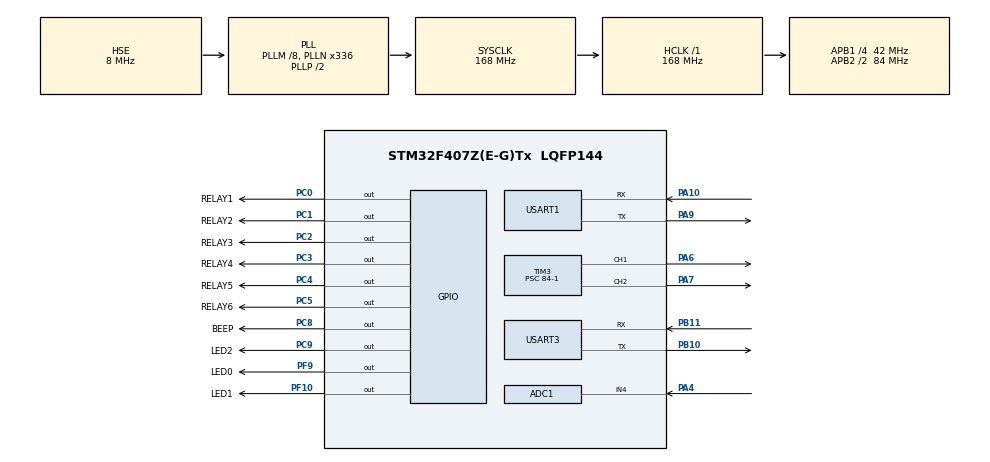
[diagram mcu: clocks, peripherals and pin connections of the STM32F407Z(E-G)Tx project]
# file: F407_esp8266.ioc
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ADC1.Channel-0\#ChannelRegularConversion=ADC_CHANNEL_4
ADC1.ExternalTrigConv=ADC_EXTERNALTRIGCONV_T3_TRGO
ADC1.ExternalTrigConvEdge=ADC_EXTERNALTRIGCONVEDGE_FALLING
ADC1.NbrOfConversionFlag=1
ADC1.Rank-0\#ChannelRegularConversion=1
ADC1.SamplingTime-0\#ChannelRegularConversion=ADC_SAMPLETIME_480CYCLES
ADC1.master=1
Mcu.Family=STM32F4
Mcu.Name=STM32F407Z(E-G)Tx
Mcu.Package=LQFP144
NVIC.PriorityGroup=NVIC_PRIORITYGROUP_2
NVIC.USART1_IRQn=true\:0\:0\:false\:false\:true\:true\:true\:true
NVIC.USART3_IRQn=true\:0\:0\:false\:false\:true\:true\:true\:true
PA10.Mode=Asynchronous
PA10.Signal=USART1_RX
PA13.Mode=Serial_Wire
PA13.Signal=SYS_JTMS-SWDIO
PA14.Mode=Serial_Wire
PA14.Signal=SYS_JTCK-SWCLK
PA4.Signal=ADCx_IN4
PA6.Signal=S_TIM3_CH1
PA7.Signal=S_TIM3_CH2
PA9.Mode=Asynchronous
PA9.Signal=USART1_TX
PB10.Mode=Asynchronous
PB10.Signal=USART3_TX
PB11.Mode=Asynchronous
PB11.Signal=USART3_RX
PC0.GPIO_Label=RELAY1
PC0.GPIO_ModeDefaultOutputPP=GPIO_MODE_OUTPUT_PP
PC0.GPIO_PuPd=GPIO_NOPULL
PC0.GPIO_Speed=GPIO_SPEED_FREQ_LOW
PC0.PinState=GPIO_PIN_SET
PC0.Signal=GPIO_Output
PC1.GPIO_Label=RELAY2
PC1.GPIO_ModeDefaultOutputPP=GPIO_MODE_OUTPUT_PP
PC1.GPIO_PuPd=GPIO_NOPULL
PC1.GPIO_Speed=GPIO_SPEED_FREQ_LOW
PC1.PinState=GPIO_PIN_SET
PC1.Signal=GPIO_Output
PC14-OSC32_IN.Mode=LSE-External-Oscillator
PC14-OSC32_IN.Signal=RCC_OSC32_IN
PC15-OSC32_OUT.Mode=LSE-External-Oscillator
PC15-OSC32_OUT.Signal=RCC_OSC32_OUT
PC2.GPIO_Label=RELAY3
PC2.GPIO_ModeDefaultOutputPP=GPIO_MODE_OUTPUT_PP
PC2.GPIO_PuPd=GPIO_NOPULL
PC2.GPIO_Speed=GPIO_SPEED_FREQ_LOW
PC2.PinState=GPIO_PIN_SET
PC2.Signal=GPIO_Output
PC3.GPIO_Label=RELAY4
PC3.GPIO_ModeDefaultOutputPP=GPIO_MODE_OUTPUT_PP
PC3.GPIO_PuPd=GPIO_NOPULL
PC3.GPIO_Speed=GPIO_SPEED_FREQ_LOW
PC3.PinState=GPIO_PIN_SET
PC3.Signal=GPIO_Output
PC4.GPIO_Label=RELAY5
PC4.GPIO_ModeDefaultOutputPP=GPIO_MODE_OUTPUT_PP
PC4.GPIO_PuPd=GPIO_NOPULL
PC4.GPIO_Speed=GPIO_SPEED_FREQ_LOW
PC4.PinState=GPIO_PIN_SET
PC4.Signal=GPIO_Output
PC5.GPIO_Label=RELAY6
PC5.GPIO_ModeDefaultOutputPP=GPIO_MODE_OUTPUT_PP
PC5.GPIO_PuPd=GPIO_NOPULL
PC5.GPIO_Speed=GPIO_SPEED_FREQ_LOW
PC5.PinState=GPIO_PIN_SET
PC5.Signal=GPIO_Output
PC8.GPIO_Label=BEEP
PC8.GPIO_ModeDefaultOutputPP=GPIO_MODE_OUTPUT_PP
PC8.PinState=GPIO_PIN_RESET
PC8.Signal=GPIO_Output
PC9.GPIO_Label=LED2
PC9.GPIO_ModeDefaultOutputPP=GPIO_MODE_OUTPUT_PP
PC9.PinState=GPIO_PIN_RESET
PC9.Signal=GPIO_Output
PF10.GPIO_Label=LED1
PF10.PinState=GPIO_PIN_SET
PF10.Signal=GPIO_Output
PF9.GPIO_Label=LED0
PF9.PinState=GPIO_PIN_SET
PF9.Signal=GPIO_Output
PH0-OSC_IN.Mode=HSE-External-Oscillator
PH0-OSC_IN.Signal=RCC_OSC_IN
PH1-OSC_OUT.Mode=HSE-External-Oscillator
PH1-OSC_OUT.Signal=RCC_OSC_OUT
ProjectManager.HeapSize=0x200
ProjectManager.StackSize=0x400
ProjectManager.TargetToolchain=CMake
RCC.48MHZClocksFreq_Value=84000000
RCC.AHBFreq_Value=168000000
RCC.APB1CLKDivider=RCC_HCLK_DIV4
RCC.APB1Freq_Value=42000000
RCC.APB1TimFreq_Value=84000000
RCC.APB2CLKDivider=RCC_HCLK_DIV2
RCC.APB2Freq_Value=84000000
RCC.APB2TimFreq_Value=168000000
RCC.CortexFreq_Value=168000000
RCC.HCLKFreq_Value=168000000
RCC.HSE_VALUE=8000000
RCC.HSI_VALUE=16000000
RCC.PLLM=8
RCC.PLLN=336
RCC.PLLSourceVirtual=RCC_PLLSOURCE_HSE
RCC.SYSCLKFreq_VALUE=168000000
RCC.SYSCLKSource=RCC_SYSCLKSOURCE_PLLCLK
RCC.VCOOutputFreq_Value=336000000
SH.ADCx_IN4.0=ADC1_IN4,IN4
SH.S_TIM3_CH1.0=TIM3_CH1,PWM Generation1 CH1
SH.S_TIM3_CH2.0=TIM3_CH2,PWM Generation2 CH2
TIM3.AutoReloadPreload=TIM_AUTORELOAD_PRELOAD_ENABLE
TIM3.Channel-PWM\ Generation1\ CH1=TIM_CHANNEL_1
TIM3.Channel-PWM\ Generation2\ CH2=TIM_CHANNEL_2
TIM3.Period=9999
TIM3.Prescaler=84-1
TIM3.Pulse-PWM\ Generation1\ CH1=319
TIM3.Pulse-PWM\ Generation2\ CH2=280
TIM3.TIM_MasterOutputTrigger=TIM_TRGO_OC2REF
USART1.VirtualMode=VM_ASYNC
USART3.VirtualMode=VM_ASYNC
VP_TIM3_VS_ClockSourceINT.Mode=Internal
board=custom

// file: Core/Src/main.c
/* USER CODE BEGIN Header */
/**
  ******************************************************************************
  * @file           : main.c
  * @brief          : Main program body
  ******************************************************************************
  * @attention
  *
  * Copyright (c) 2026 STMicroelectronics.
  * All rights reserved.
  *
  * This software is licensed under terms that can be found in the LICENSE file
  * in the root directory of this software component.
  * If no LICENSE file comes with this software, it is provided AS-IS.
  *
  ******************************************************************************
  */
/* USER CODE END Header */
#include "main.h"
#include "adc.h"
#include "tim.h"
#include "usart.h"
#include "gpio.h"

/* USER CODE BEGIN Includes */
#include "app_alarm.h"
#include "app_cmd.h"
#include "app_dbg.h"
#include "app_dust.h"
#include "app_cfg.h"
#include "app_lcd.h"
#include "app_net.h"
#include "app_relay.h"
#include "app_touch.h"
#include "app_ui.h"
/* USER CODE END Includes */

void SystemClock_Config(void);
/* USER CODE BEGIN PFP */
static void on_touch_click(uint16_t x, uint16_t y);

/* USER CODE END PFP */

int main(void)
{

  /* MCU Configuration--------------------------------------------------------*/

  /* Reset of all peripherals, Initializes the Flash interface and the Systick. */
  HAL_Init();

  /* Configure the system clock */
  SystemClock_Config();

  /* Initialize all configured peripherals */
  MX_GPIO_Init();
  MX_USART1_UART_Init();
  MX_USART3_UART_Init();
  MX_ADC1_Init();
  MX_TIM3_Init();
  /* USER CODE BEGIN 2 */
  /* 粉尘链路：先校准 ADC，再让 TIM3 产生采样窗口与触发，最后等 TIM3_TRGO */
  app_dust_calibrate();
  HAL_TIM_PWM_Start(&htim3, TIM_CHANNEL_1);   /* PA6：传感器 LED，10 ms / 320 us */
  HAL_TIM_PWM_Start(&htim3, TIM_CHANNEL_2);   /* PA7：280 us 处 → TRGO 触发 ADC */
  if (HAL_ADC_Start(&hadc1) != HAL_OK)
  {
    Error_Handler();
  }

  app_relay_init();                           /* 6 路继电器先全部断开 */
  app_dust_init();
  app_alarm_init();                           /* 蜂鸣器/状态灯静音 */
  app_cmd_init();                             /* USART1 命令接收就绪 */
  app_net_init();                             /* USART3 + ESP8266 */
  app_ui_init();
  app_lcd_init();                             /* 3.5 寸 TFTLCD（无屏时会自己报错跳过） */
  app_touch_init();                           /* XPT2046 电阻触摸（已存校准就直接用） */

  dbg_write("\r\nF407_esp8266 ready. type 'help' for commands.\r\n");
  /* USER CODE END 2 */

  /* Infinite loop */
  /* USER CODE BEGIN WHILE */
  uint32_t tick_10ms = HAL_GetTick();
  uint32_t tick_200ms = tick_10ms;
  uint32_t tick_1s = tick_10ms;

  while (1)
  {
    uint32_t now = HAL_GetTick();

    if ((now - tick_10ms) >= 10u)             /* 10 ms 时基：命令、采样、报警、联网 */
    {
      tick_10ms = now;
      app_cmd_task();
      app_dust_task();
      app_alarm_task(app_dust_level());
      app_net_task();
      app_touch_task(on_touch_click);
    }

    if ((now - tick_200ms) >= 200u)           /* 200 ms 时基：屏幕局部刷新 */
    {
      tick_200ms = now;
      app_lcd_update();
    }

    if ((now - tick_1s) >= 1000u)             /* 1 s 时基：状态输出 */
    {
      tick_1s = now;
      app_ui_task();
    }
    /* USER CODE END WHILE */

  }
}

void SystemClock_Config(void)
{
  RCC_OscInitTypeDef RCC_OscInitStruct = {0};
  RCC_ClkInitTypeDef RCC_ClkInitStruct = {0};

  /** Configure the main internal regulator output voltage
  */
  __HAL_RCC_PWR_CLK_ENABLE();
  __HAL_PWR_VOLTAGESCALING_CONFIG(PWR_REGULATOR_VOLTAGE_SCALE1);

  /** Initializes the RCC Oscillators according to the specified parameters
  * in the RCC_OscInitTypeDef structure.
  */
  RCC_OscInitStruct.OscillatorType = RCC_OSCILLATORTYPE_HSE;
  RCC_OscInitStruct.HSEState = RCC_HSE_ON;
  RCC_OscInitStruct.PLL.PLLState = RCC_PLL_ON;
  RCC_OscInitStruct.PLL.PLLSource = RCC_PLLSOURCE_HSE;
  RCC_OscInitStruct.PLL.PLLM = 8;
  RCC_OscInitStruct.PLL.PLLN = 336;
  RCC_OscInitStruct.PLL.PLLP = RCC_PLLP_DIV2;
  RCC_OscInitStruct.PLL.PLLQ = 4;
  if (HAL_RCC_OscConfig(&RCC_OscInitStruct) != HAL_OK)
  {
    Error_Handler();
  }

  /** Initializes the CPU, AHB and APB buses clocks
  */
  RCC_ClkInitStruct.ClockType = RCC_CLOCKTYPE_HCLK|RCC_CLOCKTYPE_SYSCLK
                              |RCC_CLOCKTYPE_PCLK1|RCC_CLOCKTYPE_PCLK2;
  RCC_ClkInitStruct.SYSCLKSource = RCC_SYSCLKSOURCE_PLLCLK;
  RCC_ClkInitStruct.AHBCLKDivider = RCC_SYSCLK_DIV1;
  RCC_ClkInitStruct.APB1CLKDivider = RCC_HCLK_DIV4;
  RCC_ClkInitStruct.APB2CLKDivider = RCC_HCLK_DIV2;

  if (HAL_RCC_ClockConfig(&RCC_ClkInitStruct, FLASH_LATENCY_5) != HAL_OK)
  {
    Error_Handler();
  }
}

/* USER CODE BEGIN 4 */

/**
  * @brief  触摸回调：全部坐标判定交给 app_lcd_handle_tap()
  * @note   继电器方块 / ALL OFF / WiFi SET / 软键盘都在 app_lcd.c 内部处理，
  *         main 这边不需要知道屏幕布局
  */
static void on_touch_click(uint16_t x, uint16_t y)
{
  app_lcd_handle_tap(x, y);
}

/* USER CODE END 4 */

void Error_Handler(void)
{
  __disable_irq();
  while (1)
  {
  }
}
